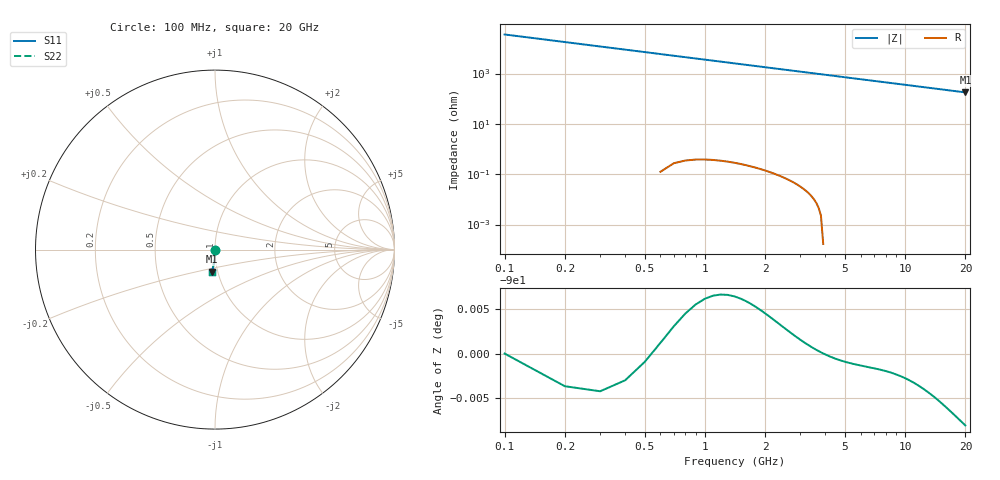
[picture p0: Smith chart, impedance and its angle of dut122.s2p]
! Touchstone file exported from HFSS 2026.1.0
!  File:  C:/ffzhzh/LocalFiles/Ansys_Project_Files/temp_train_TSV_122_1782989976_6248.aedt
!  Generated:  07:00:47 PM Jul  2, 2026
!  Design:  TSV
!  Project:  temp_train_TSV_122_1782989976_6248
! Variables:
!  h_bsmrdl = 2um
!  h_ox = 20um
!  h_rdl = 5um
!  h_sub = 57.28um
!  h_tmrdl = 5um
!  h_tsv = 57.28um
!  h_via = 3um
!  l_bsmrdl = 300um
!  l_sub = 423.12um
!  l_tmrdl = 200um
!  m_sub = 200um
!  pitch = 25.25um
!  r_tsv = 11.56um
!  s_tmrdl = 10um
!  w_bsmrdl = 18um
!  w_sub = 500um
!  w_tmrdl = 12um
!  x_tsv_center1 = 206um
!  x_tsv_center2 = 524um
!  x_tsv_center3 = 736um
!  x_tsv_center4 = 1054um
!  x_tsv_center5 = 1266um
!  x_tsv_center6 = 1584um
# GHz S MA R 50.000000
! Terminal data exported
! Port[1] = TSV1_1_T1
! Port[2] = TSV1_1_T2
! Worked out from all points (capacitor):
!   200 points, 100 MHz to 20 GHz, reference 50 ohm
!   read as one part in shunt: C = 44.7 fF near 200 MHz
!   lowest |Z| = 178 ohm at 20 GHz (marker M1)
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0.1  0.0005746 -80.1  0.9999 -0.0  0.9999 -0.0  0.0005746 -80.1
! Gamma 0 0 0 0
! Port Impedance 50 0 50 0
0.2  0.001144 -84.1  0.9999 -0.1  0.9999 -0.1  0.001144 -84.1
0.3  0.001726 -85.2  0.9999 -0.1  0.9999 -0.1  0.001726 -85.2
0.4  0.002319 -85.7  0.9998 -0.2  0.9998 -0.2  0.002319 -85.7
0.5  0.002921 -86.1  0.9998 -0.2  0.9998 -0.2  0.002921 -86.1
0.7  0.004142 -86.7  0.9997 -0.3  0.9997 -0.3  0.004142 -86.7
0.8  0.004758 -86.9  0.9997 -0.4  0.9997 -0.4  0.004758 -86.9
1  0.005993 -87.4  0.9997 -0.5  0.9997 -0.5  0.005993 -87.4
1.2  0.007229 -87.8  0.9996 -0.6  0.9996 -0.6  0.007229 -87.8
1.4  0.008466 -88.1  0.9996 -0.6  0.9996 -0.6  0.008466 -88.1
1.7  0.01032 -88.5  0.9995 -0.8  0.9995 -0.8  0.01032 -88.5
2  0.01217 -88.9  0.9995 -0.9  0.9995 -0.9  0.01217 -88.9
2.7  0.0165 -89.5  0.9994 -1.2  0.9994 -1.2  0.0165 -89.5
3.5  0.02145 -90.1  0.9992 -1.6  0.9992 -1.6  0.02145 -90.1
4.2  0.02579 -90.5  0.999 -1.9  0.999 -1.9  0.02579 -90.5
5  0.03075 -91.0  0.9988 -2.3  0.9988 -2.3  0.03075 -91.0
6.8  0.04194 -91.9  0.9983 -3.1  0.9983 -3.1  0.04194 -91.9
8.3  0.05126 -92.7  0.9978 -3.7  0.9978 -3.7  0.05126 -92.7
10.1  0.06244 -93.6  0.997 -4.5  0.997 -4.5  0.06244 -93.6
13.4  0.08287 -95.2  0.9954 -6.0  0.9954 -6.0  0.08287 -95.2
16.7  0.1032 -96.7  0.9933 -7.5  0.9933 -7.5  0.1032 -96.7
20  0.1234 -98.2  0.9909 -8.9  0.9909 -8.9  0.1234 -98.2
